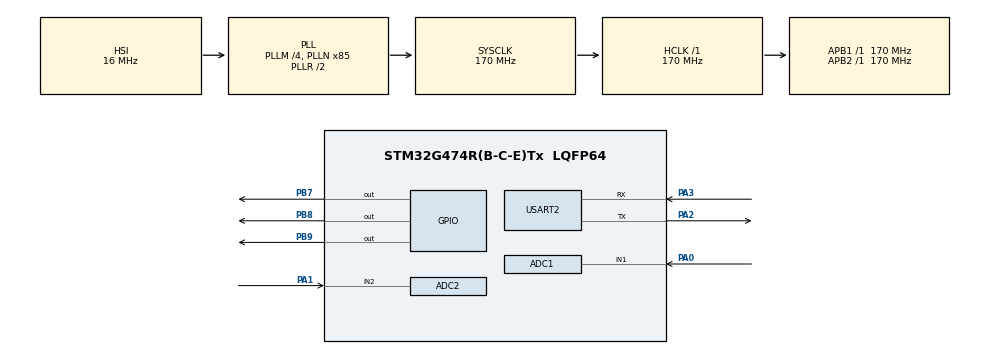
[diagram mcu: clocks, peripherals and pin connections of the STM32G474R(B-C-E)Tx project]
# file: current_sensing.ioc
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ADC1.Channel-0\#ChannelRegularConversion=ADC_CHANNEL_1
ADC1.ClockPrescaler=ADC_CLOCK_SYNC_PCLK_DIV4
ADC1.EnableInjectedConversion=DISABLE
ADC1.NbrOfConversionFlag=1
ADC1.OffsetNumber-0\#ChannelRegularConversion=ADC_OFFSET_NONE
ADC1.Rank-0\#ChannelRegularConversion=1
ADC1.Rank1_Channel=ADC_CHANNEL_1
ADC1.Rank2_Channel=ADC_CHANNEL_1
ADC1.Rank3_Channel=ADC_CHANNEL_1
ADC1.Rank4_Channel=ADC_CHANNEL_1
ADC1.SamplingTime-0\#ChannelRegularConversion=ADC_SAMPLETIME_47CYCLES_5
ADC1.master=1
ADC2.Channel-0\#ChannelRegularConversion=ADC_CHANNEL_2
ADC2.NbrOfConversionFlag=1
ADC2.OffsetNumber-0\#ChannelRegularConversion=ADC_OFFSET_NONE
ADC2.Rank-0\#ChannelRegularConversion=1
ADC2.SamplingTime-0\#ChannelRegularConversion=ADC_SAMPLETIME_47CYCLES_5
Dma.Request0=USART2_TX
Dma.USART2_TX.0.Direction=DMA_MEMORY_TO_PERIPH
Dma.USART2_TX.0.EventEnable=DISABLE
Dma.USART2_TX.0.Instance=DMA1_Channel1
Dma.USART2_TX.0.MemDataAlignment=DMA_MDATAALIGN_BYTE
Dma.USART2_TX.0.MemInc=DMA_MINC_ENABLE
Dma.USART2_TX.0.Mode=DMA_NORMAL
Dma.USART2_TX.0.PeriphDataAlignment=DMA_PDATAALIGN_BYTE
Dma.USART2_TX.0.PeriphInc=DMA_PINC_DISABLE
Dma.USART2_TX.0.Polarity=HAL_DMAMUX_REQ_GEN_RISING
Dma.USART2_TX.0.Priority=DMA_PRIORITY_LOW
Dma.USART2_TX.0.RequestNumber=1
Dma.USART2_TX.0.SignalID=NONE
Dma.USART2_TX.0.SyncEnable=DISABLE
Dma.USART2_TX.0.SyncPolarity=HAL_DMAMUX_SYNC_NO_EVENT
Dma.USART2_TX.0.SyncRequestNumber=1
Dma.USART2_TX.0.SyncSignalID=NONE
Mcu.Family=STM32G4
Mcu.Name=STM32G474R(B-C-E)Tx
Mcu.Package=LQFP64
NVIC.ADC1_2_IRQn=true\:0\:0\:false\:false\:true\:true\:true\:true
NVIC.DMA1_Channel1_IRQn=true\:2\:0\:true\:false\:true\:false\:true\:true
NVIC.PriorityGroup=NVIC_PRIORITYGROUP_4
NVIC.USART2_IRQn=true\:3\:0\:true\:false\:true\:true\:true\:true
PA0.Mode=IN1-Single-Ended
PA0.Signal=ADC1_IN1
PA1.Mode=IN2-Single-Ended
PA1.Signal=ADC2_IN2
PA13.Mode=Serial_Wire
PA13.Signal=SYS_JTMS-SWDIO
PA14.Mode=Serial_Wire
PA14.Signal=SYS_JTCK-SWCLK
PA2.Mode=Asynchronous
PA2.Signal=USART2_TX
PA3.Mode=Asynchronous
PA3.Signal=USART2_RX
PB7.GPIO_FM7=SYSCFG_FASTMODEPLUS_PB7
PB7.GPIO_Speed=GPIO_SPEED_FREQ_VERY_HIGH
PB7.Signal=GPIO_Output
PB8-BOOT0.GPIO_FM8=SYSCFG_FASTMODEPLUS_PB8
PB8-BOOT0.GPIO_Speed=GPIO_SPEED_FREQ_VERY_HIGH
PB8-BOOT0.Signal=GPIO_Output
PB9.GPIO_FM9=SYSCFG_FASTMODEPLUS_PB9
PB9.GPIO_Speed=GPIO_SPEED_FREQ_VERY_HIGH
PB9.Signal=GPIO_Output
PF0-OSC_IN.Mode=HSE-External-Oscillator
PF0-OSC_IN.Signal=RCC_OSC_IN
PF1-OSC_OUT.Mode=HSE-External-Oscillator
PF1-OSC_OUT.Signal=RCC_OSC_OUT
ProjectManager.HeapSize=0x200
ProjectManager.StackSize=0x400
ProjectManager.TargetToolchain=STM32CubeIDE
RCC.ADC12Freq_Value=170000000
RCC.ADC345Freq_Value=170000000
RCC.AHBFreq_Value=170000000
RCC.APB1Freq_Value=170000000
RCC.APB1TimFreq_Value=170000000
RCC.APB2Freq_Value=170000000
RCC.APB2TimFreq_Value=170000000
RCC.CortexFreq_Value=170000000
RCC.EXTERNAL_CLOCK_VALUE=12288000
RCC.HCLKFreq_Value=170000000
RCC.HSE_VALUE=8000000
RCC.HSI48_VALUE=48000000
RCC.HSI_VALUE=16000000
RCC.LSE_VALUE=32768
RCC.PLLM=RCC_PLLM_DIV4
RCC.PLLN=85
RCC.SYSCLKFreq_VALUE=170000000
RCC.SYSCLKSource=RCC_SYSCLKSOURCE_PLLCLK
RCC.USBFreq_Value=170000000
RCC.VCOOutputFreq_Value=340000000
USART2.VirtualMode-Asynchronous=VM_ASYNC
VP_SYS_VS_DBSignals.Mode=DisableDeadBatterySignals
VP_TIM3_VS_ClockSourceINT.Mode=Internal
board=custom

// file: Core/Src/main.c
/* USER CODE BEGIN Header */
/**
  ******************************************************************************
  * @file           : main.c
  * @brief          : Main program body
  ****************
  ******************************************************************************
  * @attention
  *
  * Copyright (c) 2026 STMicroelectronics.
  * All rights reserved.
  *
  * This software is licensed under terms that can be found in the LICENSE file
  * in the root directory of this software component.
  * If no LICENSE file comes with this software, it is provided AS-IS.
  *
  ******************************************************************************
  */
/* USER CODE END Header */
#include "main.h"
#include "adc.h"
#include "dma.h"
#include "tim.h"
#include "usart.h"
#include "gpio.h"

/* USER CODE BEGIN Includes */
#include "current_sensor.h"
#include <stdio.h>
#include "hysteresis.h"
/* USER CODE END Includes */

void SystemClock_Config(void);

/* USER CODE BEGIN 0 */
int __io_putchar(int ch)
{
    HAL_UART_Transmit(&huart2, (uint8_t*)&ch, 1, 100);
    return ch;
}
/* USER CODE END 0 */

int main(void)
{

  /* MCU Configuration--------------------------------------------------------*/

  /* Reset of all peripherals, Initializes the Flash interface and the Systick. */
  HAL_Init();

  /* Configure the system clock */
  SystemClock_Config();

  /* Initialize all configured peripherals */
  MX_GPIO_Init();
  MX_DMA_Init();
  MX_ADC1_Init();
  MX_ADC2_Init();
  MX_USART2_UART_Init();
  MX_TIM3_Init();
  /* USER CODE BEGIN 2 */
  //CurrentSensor_Init(&hadc1, &hadc2);

  CurrentSensor_Init(&hadc1, &hadc2);
  Hysteresis_Init();

  HAL_Delay(1000);
  char msg[] = "STM32 Started\r\n";
  HAL_UART_Transmit(&huart2, (uint8_t*)msg, sizeof(msg)-1, 1000);
  // initializes ADC hardware self-calibration
  // must be before any reading

  /* USER CODE END 2 */

  /* Infinite loop */
  while (1)
  {

    /* USER CODE BEGIN 3 */

	     // 1. read both sensors
	     Read_Currents();

	     // 2. calculate phase C from Kirchhoff
	     // ia + ib + ic = 0  therefore:
	     float i_c = -(current_1_filtered + current_2_filtered);

	     // 3. run hysteresis for all 3 phases
	     Hysteresis_Update(current_1_filtered,
	                       current_2_filtered,
	                       i_c);

	     // 4. send to Python
	     int v1  = (int)(current_1_filtered * 1000);
	     int v2  = (int)(current_2_filtered * 1000);
	     int v3  = (int)(i_c * 1000);
	     int r1  = (int)(i_ref_a * 1000);
	     int sw1 = switch_A;
	     int sw2 = switch_B;
	     int sw3 = switch_C;

	     char buf[80];
	     int len = sprintf(buf, "%d,%d,%d,%d,%d,%d,%d\r\n",
	                       v1, v2, v3, r1, sw1, sw2, sw3);
	     HAL_UART_Transmit(&huart2, (uint8_t*)buf, len, 1000);
  }
  /* USER CODE END 3 */
}

void SystemClock_Config(void)
{
  RCC_OscInitTypeDef RCC_OscInitStruct = {0};
  RCC_ClkInitTypeDef RCC_ClkInitStruct = {0};

  /** Configure the main internal regulator output voltage
  */
  HAL_PWREx_ControlVoltageScaling(PWR_REGULATOR_VOLTAGE_SCALE1_BOOST);

  /** Initializes the RCC Oscillators according to the specified parameters
  * in the RCC_OscInitTypeDef structure.
  */
  RCC_OscInitStruct.OscillatorType = RCC_OSCILLATORTYPE_HSI;
  RCC_OscInitStruct.HSIState = RCC_HSI_ON;
  RCC_OscInitStruct.HSICalibrationValue = RCC_HSICALIBRATION_DEFAULT;
  RCC_OscInitStruct.PLL.PLLState = RCC_PLL_ON;
  RCC_OscInitStruct.PLL.PLLSource = RCC_PLLSOURCE_HSI;
  RCC_OscInitStruct.PLL.PLLM = RCC_PLLM_DIV4;
  RCC_OscInitStruct.PLL.PLLN = 85;
  RCC_OscInitStruct.PLL.PLLP = RCC_PLLP_DIV2;
  RCC_OscInitStruct.PLL.PLLQ = RCC_PLLQ_DIV2;
  RCC_OscInitStruct.PLL.PLLR = RCC_PLLR_DIV2;
  if (HAL_RCC_OscConfig(&RCC_OscInitStruct) != HAL_OK)
  {
    Error_Handler();
  }

  /** Initializes the CPU, AHB and APB buses clocks
  */
  RCC_ClkInitStruct.ClockType = RCC_CLOCKTYPE_HCLK|RCC_CLOCKTYPE_SYSCLK
                              |RCC_CLOCKTYPE_PCLK1|RCC_CLOCKTYPE_PCLK2;
  RCC_ClkInitStruct.SYSCLKSource = RCC_SYSCLKSOURCE_PLLCLK;
  RCC_ClkInitStruct.AHBCLKDivider = RCC_SYSCLK_DIV1;
  RCC_ClkInitStruct.APB1CLKDivider = RCC_HCLK_DIV1;
  RCC_ClkInitStruct.APB2CLKDivider = RCC_HCLK_DIV1;

  if (HAL_RCC_ClockConfig(&RCC_ClkInitStruct, FLASH_LATENCY_4) != HAL_OK)
  {
    Error_Handler();
  }
}

void Error_Handler(void)
{
  __disable_irq();
  while (1)
  {
  }
}
